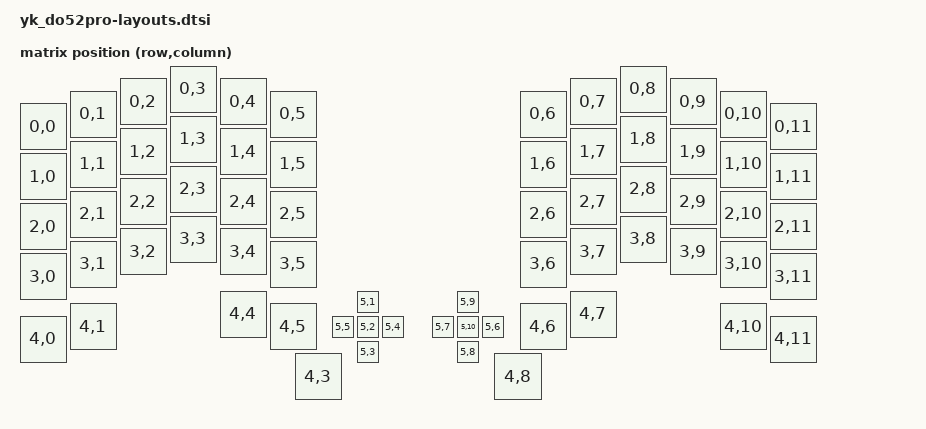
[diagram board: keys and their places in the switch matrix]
#include <physical_layouts.dtsi>
/{

  default_transform0: keymap_transform0 {
        compatible = "zmk,matrix-transform";
        columns = <12>;
        rows = <8>;
        map = <
RC(0,0) RC(0,1) RC(0,2) RC(0,3) RC(0,4) RC(0,5)                 RC(0,6) RC(0,7) RC(0,8) RC(0,9) RC(0,10) RC(0,11)
RC(1,0) RC(1,1) RC(1,2) RC(1,3) RC(1,4) RC(1,5)                 RC(1,6) RC(1,7) RC(1,8) RC(1,9) RC(1,10) RC(1,11)
RC(2,0) RC(2,1) RC(2,2) RC(2,3) RC(2,4) RC(2,5)                 RC(2,6) RC(2,7) RC(2,8) RC(2,9) RC(2,10) RC(2,11)
RC(3,0) RC(3,1) RC(3,2) RC(3,3) RC(3,4) RC(3,5)                 RC(3,6) RC(3,7) RC(3,8) RC(3,9) RC(3,10) RC(3,11)
RC(4,0) RC(4,1)                 RC(4,4) RC(4,5) RC(4,3) RC(4,8) RC(4,6) RC(4,7)                 RC(4,10) RC(4,11)
                            RC(5,5) RC(5,3) RC(5,2) RC(5,1) RC(5,4)
                            RC(5,7) RC(5,8) RC(5,10) RC(5,9) RC(5,6)                          
        >;
    };

    physical_layout0: physical_layout0 {
        compatible = "zmk,physical-layout";
        display-name = "Do52 Layout";
        kscan = <&kscan0>;
        transform = <&default_transform0>;
        keys  //                     w   h    x    y     rot    rx    ry
            = //number 
              <&key_physical_attrs 100 100    0   75       0     0     0>
            , <&key_physical_attrs 100 100  100   50       0     0     0>
            , <&key_physical_attrs 100 100  200   25       0     0     0>
            , <&key_physical_attrs 100 100  300    0       0     0     0>
            , <&key_physical_attrs 100 100  400   25       0     0     0>
            , <&key_physical_attrs 100 100  500   50       0     0     0>
            //
            , <&key_physical_attrs 100 100 1000   50       0     0     0>
            , <&key_physical_attrs 100 100 1100   25       0     0     0>
            , <&key_physical_attrs 100 100 1200    0       0     0     0>
            , <&key_physical_attrs 100 100 1300   25       0     0     0>
            , <&key_physical_attrs 100 100 1400   50       0     0     0>
            , <&key_physical_attrs 100 100 1500   75       0     0     0>
            //top letter row
            , <&key_physical_attrs 100 100    0  175       0     0     0>
            , <&key_physical_attrs 100 100  100  150       0     0     0>
            , <&key_physical_attrs 100 100  200  125       0     0     0>
            , <&key_physical_attrs 100 100  300  100       0     0     0>
            , <&key_physical_attrs 100 100  400  125       0     0     0>
            , <&key_physical_attrs 100 100  500  150       0     0     0>
            //
            , <&key_physical_attrs 100 100 1000  150       0     0     0>
            , <&key_physical_attrs 100 100 1100  125       0     0     0>
            , <&key_physical_attrs 100 100 1200  100       0     0     0>
            , <&key_physical_attrs 100 100 1300  125       0     0     0>
            , <&key_physical_attrs 100 100 1400  150       0     0     0>
            , <&key_physical_attrs 100 100 1500  175       0     0     0>
            //middle letter row
            , <&key_physical_attrs 100 100    0  275       0     0     0>
            , <&key_physical_attrs 100 100  100  250       0     0     0>
            , <&key_physical_attrs 100 100  200  225       0     0     0>
            , <&key_physical_attrs 100 100  300  200       0     0     0>
            , <&key_physical_attrs 100 100  400  225       0     0     0>
            , <&key_physical_attrs 100 100  500  250       0     0     0>
            //
            , <&key_physical_attrs 100 100 1000  250       0     0     0>
            , <&key_physical_attrs 100 100 1100  225       0     0     0>
            , <&key_physical_attrs 100 100 1200  200       0     0     0>
            , <&key_physical_attrs 100 100 1300  225       0     0     0>
            , <&key_physical_attrs 100 100 1400  250       0     0     0>
            , <&key_physical_attrs 100 100 1500  275       0     0     0>
            //bottom letter row
            , <&key_physical_attrs 100 100    0  375       0     0     0>
            , <&key_physical_attrs 100 100  100  350       0     0     0>
            , <&key_physical_attrs 100 100  200  325       0     0     0>
            , <&key_physical_attrs 100 100  300  300       0     0     0>
            , <&key_physical_attrs 100 100  400  325       0     0     0>
            , <&key_physical_attrs 100 100  500  350       0     0     0>
            //
            , <&key_physical_attrs 100 100 1000  350       0     0     0>
            , <&key_physical_attrs 100 100 1100  325       0     0     0>
            , <&key_physical_attrs 100 100 1200  300       0     0     0>
            , <&key_physical_attrs 100 100 1300  325       0     0     0>
            , <&key_physical_attrs 100 100 1400  350       0     0     0>
            , <&key_physical_attrs 100 100 1500  375       0     0     0>
            //thunb row
            , <&key_physical_attrs 100 100    0  500       0     0     0>
            , <&key_physical_attrs 100 100  100  475       0     0     0>
            , <&key_physical_attrs 100 100  400  450       0     0     0>
            , <&key_physical_attrs 100 100  500  475       0     0     0>
            , <&key_physical_attrs 100 100  550  575       0     0     0>
            //
            , <&key_physical_attrs 100 100  950  575       0     0     0>
            , <&key_physical_attrs 100 100 1000  475       0     0     0>
            , <&key_physical_attrs 100 100 1100  450       0     0     0>
            , <&key_physical_attrs 100 100 1400  475       0     0     0>
            , <&key_physical_attrs 100 100 1500  500       0     0     0>
            //DPAD  Left, Down, Middle, Up, Right
            , <&key_physical_attrs  50  50  625  500       0     0     0>
            , <&key_physical_attrs  50  50  675  550       0     0     0>
            , <&key_physical_attrs  50  50  675  500       0     0     0>
            , <&key_physical_attrs  50  50  675  450       0     0     0>
            , <&key_physical_attrs  50  50  725  500       0     0     0>
            //
            , <&key_physical_attrs  50  50  825  500       0     0     0>
            , <&key_physical_attrs  50  50  875  550       0     0     0>
            , <&key_physical_attrs  50  50  875  500       0     0     0>
            , <&key_physical_attrs  50  50  875  450       0     0     0>
            , <&key_physical_attrs  50  50  925  500       0     0     0>
            
            ;
    };
};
